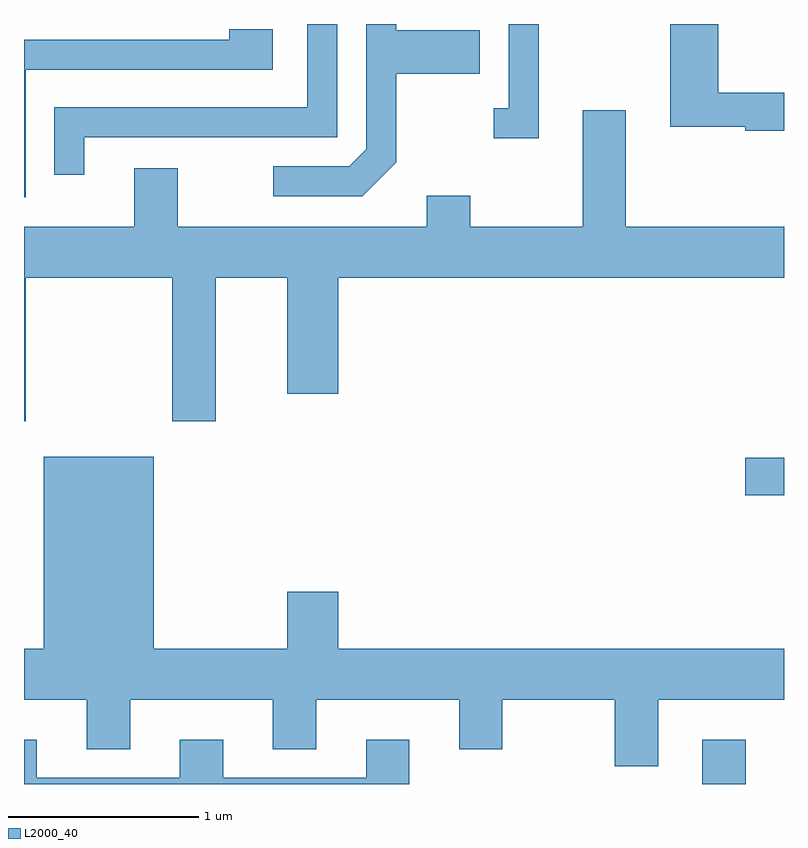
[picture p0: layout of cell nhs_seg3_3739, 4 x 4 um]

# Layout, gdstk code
import gdstk
lib = gdstk.Library(unit=1e-6, precision=1e-09)
def R(c, l, rs):  # rectangles x0, y0, x1, y1
    for r in rs: c.add(gdstk.rectangle(r[:2], r[2:], *l))
def P(c, l, *ps):  # polygons
    for p in ps: c.add(gdstk.Polygon(p, *l))
L2000_40 = (2000, 40)

nhs_seg3_3739 = lib.new_cell('nhs_seg3_3739')
R(nhs_seg3_3739, L2000_40, [(297.181,1249.892,297.409,1250.124), (297.406,1251.411,297.611,1251.609)])
P(nhs_seg3_3739, L2000_40, [(297.611,1253.529),(297.264,1253.529),(297.264,1253.892),(297.011,1253.892),(297.011,1253.351),(297.406,1253.351),(297.406,1253.331),(297.611,1253.331)],
  [(295.569,1253.164),(295.569,1253.631),(296.009,1253.631),(296.009,1253.859),(295.569,1253.859),(295.569,1253.892),(295.411,1253.892),(295.411,1253.232),(295.324,1253.144),(294.923,1253.144),(294.923,1252.986),(295.392,1252.986)],
  [(293.929,1253.296),(295.259,1253.296),(295.259,1253.892),(295.101,1253.892),(295.101,1253.454),(293.771,1253.454),(293.771,1253.098),(293.929,1253.098)],
  [(296.319,1253.892),(296.161,1253.892),(296.161,1253.449),(296.083,1253.449),(296.083,1253.291),(296.319,1253.291)],
  [(293.619,1253.651),(294.919,1253.651),(294.919,1253.864),(294.691,1253.864),(294.691,1253.809),(293.611,1253.809),(293.611,1252.981),(293.619,1252.981)],
  [(293.619,1252.556),(294.391,1252.556),(294.391,1251.801),(294.619,1251.801),(294.619,1252.556),(294.996,1252.556),(294.996,1251.946),(295.264,1251.946),(295.264,1252.556),(297.611,1252.556),(297.611,1252.824),(296.779,1252.824),(296.779,1253.439),(296.551,1253.439),(296.551,1252.824),(295.959,1252.824),(295.959,1252.989),(295.731,1252.989),(295.731,1252.824),(294.419,1252.824),(294.419,1253.134),(294.191,1253.134),(294.191,1252.824),(293.611,1252.824),(293.611,1251.801),(293.619,1251.801)],
  [(296.949,1250.336),(297.611,1250.336),(297.611,1250.604),(295.264,1250.604),(295.264,1250.904),(294.996,1250.904),(294.996,1250.604),(294.294,1250.604),(294.294,1251.614),(293.716,1251.614),(293.716,1250.604),(293.611,1250.604),(293.611,1250.336),(293.941,1250.336),(293.941,1250.076),(294.169,1250.076),(294.169,1250.336),(294.921,1250.336),(294.921,1250.076),(295.149,1250.076),(295.149,1250.336),(295.901,1250.336),(295.901,1250.076),(296.129,1250.076),(296.129,1250.336),(296.721,1250.336),(296.721,1249.986),(296.949,1249.986)],
  [(295.639,1250.124),(295.411,1250.124),(295.411,1249.924),(294.659,1249.924),(294.659,1250.124),(294.431,1250.124),(294.431,1249.924),(293.679,1249.924),(293.679,1250.124),(293.611,1250.124),(293.611,1249.892),(295.639,1249.892)])

lib.write_gds('nhs_seg3_3739.gds')
